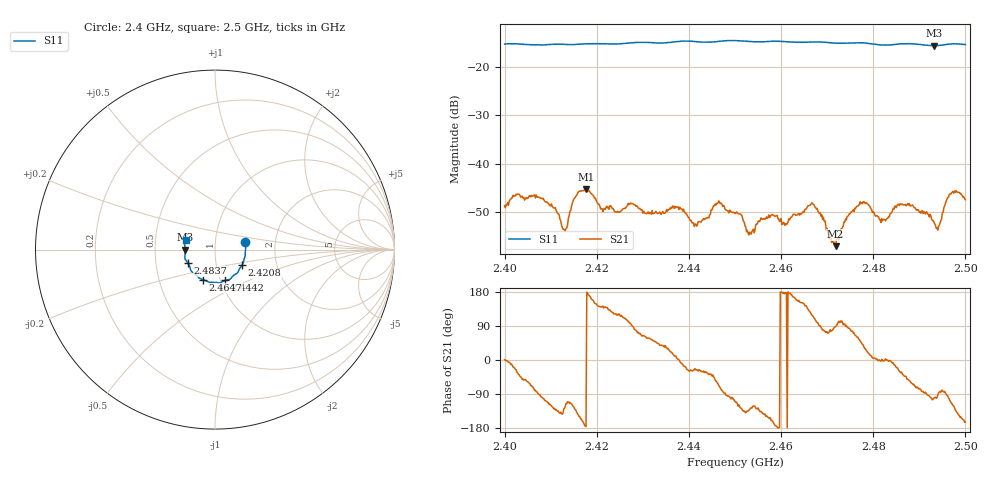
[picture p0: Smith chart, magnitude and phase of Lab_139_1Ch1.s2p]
# Hz S RI R 50
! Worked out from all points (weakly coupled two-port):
!   601 points, 2.4 GHz to 2.5 GHz, reference 50 ohm
!   highest |S21| = -45.35 dB at 2.4177 GHz (marker M1); lowest = -57.1 dB at 2.4718 GHz (marker M2)
!   lowest |S11| = -15.6 dB at 2.4932 GHz (marker M3), VSWR 1.40, Z = 35.8 - j0.084 ohm
!   |S11| at or under -10 dB: start of sweep to end of sweep
!   S12 and S22 are empty: the file has one direction only
!   S11 on the Smith chart (normalised r, x): 2.4 GHz: 1.40, +0.12; 2.4208 GHz: 1.33, -0.24; 2.4442 GHz: 1.05, -0.37; 2.4647 GHz: 0.83, -0.29; 2.4837 GHz: 0.73, -0.11; 2.5 GHz: 0.72, +0.08
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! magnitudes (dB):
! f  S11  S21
! 2.4 GHz  -15.3  -48.7
! 2.4073 GHz  -15.4  -47.0
! 2.413 GHz  -15.3  -53.8
! 2.4167 GHz  -15.2  -45.7
! 2.4177 GHz  -15.2  -45.4
! 2.4208 GHz  -15.2  -49.4
! 2.4333 GHz  -15.0  -50.3
! 2.4442 GHz  -14.9  -51.2
! 2.4465 GHz  -14.7  -47.7
! 2.45 GHz  -14.5  -50.3
! 2.4533 GHz  -14.7  -54.5
! 2.4647 GHz  -14.9  -50.2
! 2.4667 GHz  -14.8  -48.1
! 2.4718 GHz  -15.1  -57.1
! 2.4775 GHz  -15.0  -48.1
! 2.4833 GHz  -15.5  -51.0
! 2.4837 GHz  -15.4  -50.4
! 2.488 GHz  -15.2  -48.8
! 2.4932 GHz  -15.6  -52.2
! 2.4942 GHz  -15.6  -53.1
! 2.4968 GHz  -15.2  -46.3
! 2.5 GHz  -15.3  -47.5
